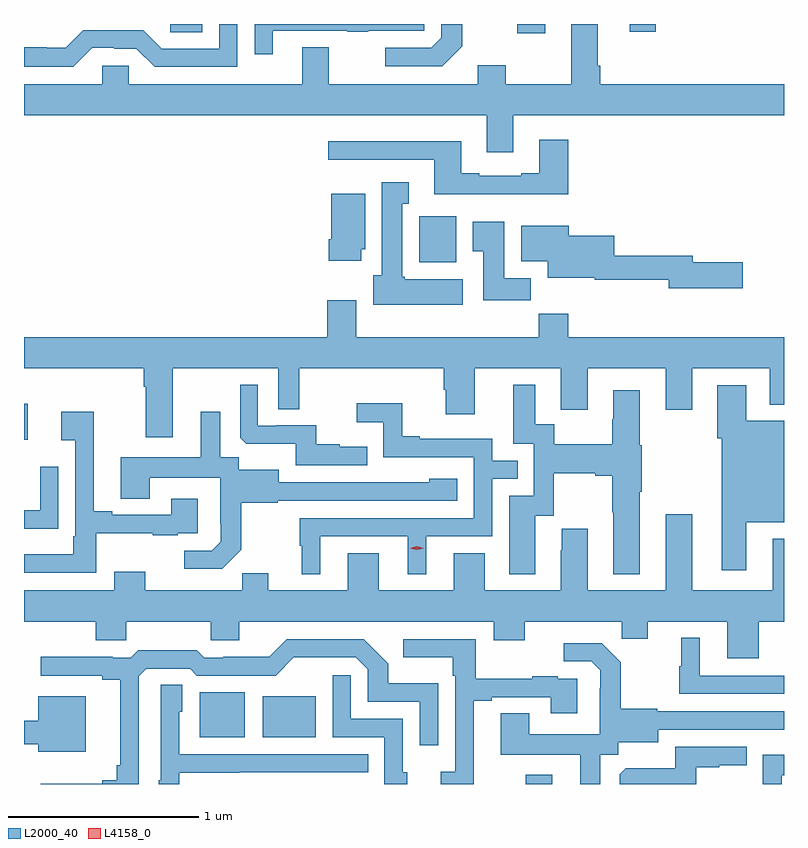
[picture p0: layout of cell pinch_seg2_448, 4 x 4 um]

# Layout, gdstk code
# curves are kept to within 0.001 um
import gdstk
lib = gdstk.Library(unit=1e-6, precision=1e-09)
def R(c, l, rs):  # rectangles x0, y0, x1, y1
    for r in rs: c.add(gdstk.rectangle(r[:2], r[2:], *l))
def P(c, l, *ps):  # polygons
    for p in ps: c.add(gdstk.Polygon(p, *l))
L2000_40 = (2000, 40)
L4158_0 = (4158, 0)

pinch_seg2_448 = lib.new_cell('pinch_seg2_448')
R(pinch_seg2_448, L2000_40, [(889.865,601.493,890.005,601.543), (888.149,601.739,888.388,601.975), (888.482,601.739,888.76,601.954), (887.225,603.306,887.245,603.494), (889.304,604.238,889.501,604.48), (889.821,605.445,889.969,605.493), (887.994,605.449,888.162,605.493), (890.414,605.451,890.549,605.493)])
P(pinch_seg2_448, L2000_40, [(888.535,605.457),(888.925,605.457),(888.925,605.452),(889.037,605.452),(889.037,605.457),(889.332,605.457),(889.332,605.493),(888.439,605.493),(888.439,605.334),(888.535,605.334)],
  [(889.801,605.012),(891.225,605.012),(891.225,605.176),(890.258,605.176),(890.258,605.272),(890.245,605.272),(890.245,605.493),(890.105,605.493),(890.105,605.176),(889.761,605.176),(889.761,605.275),(889.613,605.275),(889.613,605.176),(888.829,605.176),(888.829,605.371),(888.689,605.371),(888.689,605.176),(887.775,605.176),(887.775,605.274),(887.637,605.274),(887.637,605.176),(887.225,605.176),(887.225,605.012),(889.661,605.012),(889.661,604.818),(889.801,604.818)],
  [(889.531,605.377),(889.531,605.493),(889.422,605.493),(889.422,605.421),(889.368,605.367),(889.125,605.367),(889.125,605.271),(889.425,605.271)],
  [(887.583,605.367),(887.699,605.367),(887.699,605.364),(887.817,605.364),(887.913,605.268),(888.348,605.268),(888.348,605.493),(888.252,605.493),(888.252,605.364),(887.949,605.364),(887.853,605.46),(887.538,605.46),(887.445,605.367),(887.345,605.367),(887.345,605.371),(887.225,605.371),(887.225,605.267),(887.483,605.267)],
  [(890.09,604.885),(889.937,604.885),(889.937,604.708),(889.841,604.708),(889.841,604.695),(889.621,604.695),(889.621,604.708),(889.525,604.708),(889.525,604.876),(888.825,604.876),(888.825,604.779),(889.385,604.779),(889.385,604.598),(890.09,604.598)],
  [(889.534,604.15),(889.23,604.15),(889.23,604.164),(889.216,604.164),(889.216,604.547),(889.249,604.547),(889.249,604.66),(889.109,604.66),(889.109,604.17),(889.064,604.17),(889.064,604.016),(889.534,604.016)],
  [(889,604.308),(889.021,604.308),(889.021,604.6),(888.842,604.6),(888.842,604.36),(888.83,604.36),(888.83,604.248),(889,604.248)],
  [(889.892,604.156),(889.753,604.156),(889.753,604.453),(889.586,604.453),(889.586,604.297),(889.643,604.297),(889.643,604.038),(889.892,604.038)],
  [(891.007,604.238),(890.746,604.238),(890.746,604.274),(890.332,604.274),(890.332,604.378),(890.092,604.378),(890.092,604.432),(889.841,604.432),(889.841,604.244),(889.982,604.244),(889.982,604.157),(890.228,604.157),(890.228,604.146),(890.618,604.146),(890.618,604.103),(891.007,604.103)],
  [(888.007,603.68),(888.564,603.68),(888.564,603.466),(888.673,603.466),(888.673,603.68),(889.433,603.68),(889.433,603.567),(889.445,603.567),(889.445,603.438),(889.597,603.438),(889.597,603.68),(890.051,603.68),(890.051,603.462),(890.191,603.462),(890.191,603.68),(890.603,603.68),(890.603,603.462),(890.743,603.462),(890.743,603.68),(891.149,603.68),(891.149,603.49),(891.225,603.49),(891.225,603.844),(890.09,603.844),(890.09,603.968),(889.933,603.968),(889.933,603.844),(888.973,603.844),(888.973,604.039),(888.821,604.039),(888.821,603.844),(887.225,603.844),(887.225,603.68),(887.855,603.68),(887.855,603.584),(887.867,603.584),(887.867,603.318),(888.007,603.318)],
  [(889.031,603.268),(888.887,603.268),(888.887,603.28),(888.764,603.28),(888.764,603.381),(888.556,603.381),(888.556,603.378),(888.456,603.378),(888.456,603.595),(888.363,603.595),(888.363,603.315),(888.395,603.284),(888.654,603.284),(888.654,603.171),(889.031,603.171)],
  [(890.467,603.032),(890.475,603.032),(890.475,603.276),(890.467,603.276),(890.467,603.565),(890.327,603.565),(890.327,603.414),(890.32,603.414),(890.32,603.28),(890.017,603.28),(890.017,603.386),(889.915,603.386),(889.915,603.595),(889.799,603.595),(889.799,603.285),(889.908,603.285),(889.908,603.009),(889.778,603.009),(889.778,602.598),(889.915,602.598),(889.915,602.906),(890.013,602.906),(890.013,603.128),(890.231,603.128),(890.231,603.116),(890.32,603.116),(890.32,602.923),(890.327,602.923),(890.327,602.597),(890.467,602.597)],
  [(891.025,602.87),(891.225,602.87),(891.225,603.405),(891.025,603.405),(891.025,603.592),(890.873,603.592),(890.873,603.312),(890.897,603.312),(890.897,602.619),(891.025,602.619)],
  [(888.784,602.796),(889.244,602.796),(889.244,602.597),(889.342,602.597),(889.342,602.796),(889.689,602.796),(889.689,603.099),(889.823,603.099),(889.823,603.195),(889.689,603.195),(889.689,603.309),(889.309,603.309),(889.309,603.322),(889.215,603.322),(889.215,603.497),(888.975,603.497),(888.975,603.398),(889.116,603.398),(889.116,603.213),(889.593,603.213),(889.593,602.892),(888.675,602.892),(888.675,602.748),(888.686,602.748),(888.686,602.597),(888.784,602.597)],
  [(887.605,602.813),(887.903,602.813),(887.903,602.802),(888.035,602.802),(888.035,602.814),(888.139,602.814),(888.139,602.995),(887.999,602.995),(887.999,602.91),(887.689,602.91),(887.689,602.929),(887.593,602.929),(887.593,603.451),(887.421,603.451),(887.421,603.302),(887.496,603.302),(887.496,602.797),(887.484,602.797),(887.484,602.701),(887.225,602.701),(887.225,602.604),(887.605,602.604)],
  [(888.369,602.727),(888.369,602.973),(888.561,602.973),(888.561,602.985),(889.504,602.985),(889.504,603.1),(889.359,603.1),(889.359,603.082),(888.565,603.081),(888.565,603.148),(888.354,603.148),(888.354,603.212),(888.259,603.212),(888.259,603.451),(888.155,603.451),(888.155,603.214),(887.735,603.214),(887.735,602.995),(887.887,602.995),(887.887,603.104),(888.258,603.104),(888.258,602.863),(888.26,602.863),(888.26,602.768),(888.213,602.721),(888.069,602.721),(888.069,602.627),(888.269,602.627)],
  [(887.406,603.163),(887.31,603.163),(887.31,602.934),(887.225,602.934),(887.225,602.837),(887.406,602.837)],
  [(891.091,602.348),(891.225,602.348),(891.225,602.785),(891.167,602.785),(891.167,602.512),(890.743,602.512),(890.743,602.914),(890.603,602.914),(890.603,602.512),(890.191,602.512),(890.191,602.836),(890.054,602.836),(890.054,602.723),(890.051,602.723),(890.051,602.512),(889.651,602.512),(889.651,602.707),(889.487,602.707),(889.487,602.512),(889.093,602.512),(889.093,602.707),(888.929,602.707),(888.929,602.512),(888.511,602.512),(888.511,602.603),(888.373,602.603),(888.373,602.512),(887.863,602.512),(887.863,602.611),(887.699,602.611),(887.699,602.512),(887.225,602.512),(887.225,602.348),(887.603,602.348),(887.603,602.25),(887.763,602.25),(887.763,602.348),(888.208,602.348),(888.208,602.25),(888.358,602.25),(888.358,602.348),(889.697,602.348),(889.697,602.249),(889.861,602.249),(889.861,602.348),(890.371,602.348),(890.371,602.258),(890.509,602.258),(890.509,602.348),(890.927,602.348),(890.927,602.154),(891.091,602.154)],
  [(891.225,602.064),(890.782,602.064),(890.782,602.263),(890.684,602.263),(890.684,602.112),(890.673,602.112),(890.673,601.968),(891.225,601.968)],
  [(889.591,601.932),(889.687,601.932),(889.687,601.95),(889.997,601.95),(889.997,601.866),(890.137,601.866),(890.137,602.046),(890.033,602.046),(890.033,602.059),(889.901,602.059),(889.901,602.048),(889.603,602.048),(889.603,602.256),(889.221,602.256),(889.221,602.159),(889.482,602.159),(889.482,602.063),(889.494,602.063),(889.494,601.558),(889.419,601.558),(889.419,601.493),(889.591,601.493)],
  [(887.829,602.061),(887.868,602.1),(888.099,602.1),(888.135,602.064),(888.549,602.064),(888.644,602.159),(888.972,602.16),(889.035,602.097),(889.035,601.926),(889.308,601.926),(889.308,601.698),(889.404,601.698),(889.404,602.023),(889.143,602.023),(889.143,602.126),(889.012,602.256),(888.609,602.256),(888.515,602.162),(888.274,602.162),(888.274,602.157),(888.174,602.157),(888.135,602.197),(887.827,602.197),(887.787,602.157),(887.693,602.157),(887.693,602.162),(887.313,602.162),(887.313,602.064),(887.636,602.064),(887.636,602.042),(887.732,602.042),(887.732,601.591),(887.713,601.591),(887.713,601.514),(887.636,601.514),(887.636,601.495),(887.313,601.495),(887.313,601.493),(887.829,601.493)],
  [(890.257,601.648),(890.352,601.648),(890.352,601.712),(890.563,601.712),(890.563,601.779),(891.225,601.778),(891.225,601.875),(890.559,601.875),(890.559,601.888),(890.367,601.888),(890.367,602.133),(890.267,602.233),(890.067,602.233),(890.067,602.139),(890.211,602.139),(890.258,602.092),(890.258,601.997),(890.256,601.997),(890.256,601.756),(889.885,601.756),(889.885,601.865),(889.733,601.865),(889.733,601.646),(890.153,601.646),(890.153,601.493),(890.257,601.493)],
  [(889.243,601.554),(889.218,601.554),(889.218,601.836),(888.945,601.836),(888.945,602.065),(888.849,602.065),(888.849,601.74),(889.122,601.74),(889.122,601.493),(889.243,601.493)],
  [(888.042,601.553),(888.359,601.553),(888.359,601.554),(889.037,601.554),(889.037,601.65),(888.042,601.65),(888.042,601.872),(888.058,601.872),(888.058,602.015),(887.946,602.015),(887.946,601.512),(887.933,601.512),(887.933,601.493),(888.042,601.493)],
  [(887.551,601.954),(887.3,601.954),(887.3,601.825),(887.225,601.825),(887.225,601.703),(887.3,601.703),(887.3,601.664),(887.551,601.664)],
  [(890.762,601.581),(890.885,601.581),(890.885,601.592),(891.029,601.592),(891.029,601.689),(890.652,601.689),(890.652,601.577),(890.393,601.577),(890.361,601.545),(890.361,601.493),(890.762,601.493)],
  [(891.213,601.539),(891.225,601.539),(891.225,601.647),(891.114,601.647),(891.114,601.493),(891.213,601.493)])
P(pinch_seg2_448, L4158_0, [(889.293,602.725),(889.257,602.735),(889.257,602.735),(889.257,602.735),(889.293,602.745),(889.329,602.735),(889.329,602.735),(889.329,602.735)])

lib.write_gds('pinch_seg2_448.gds')
